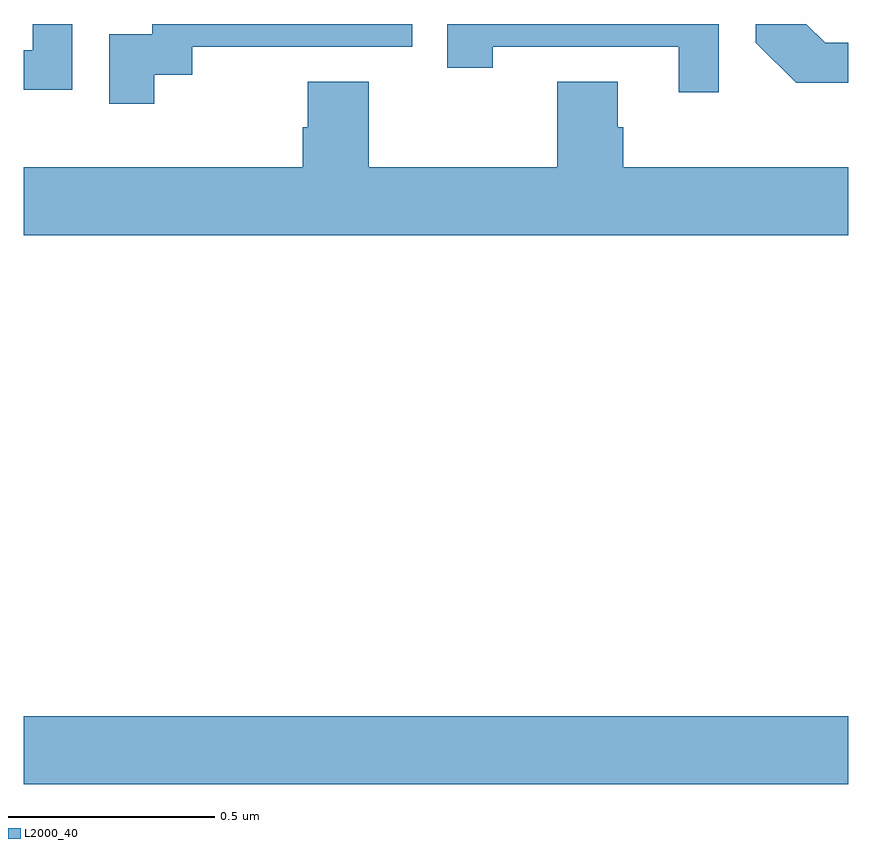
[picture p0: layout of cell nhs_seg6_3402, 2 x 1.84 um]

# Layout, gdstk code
import gdstk
lib = gdstk.Library(unit=1e-6, precision=1e-09)
def R(c, l, rs):  # rectangles x0, y0, x1, y1
    for r in rs: c.add(gdstk.rectangle(r[:2], r[2:], *l))
def P(c, l, *ps):  # polygons
    for p in ps: c.add(gdstk.Polygon(p, *l))
L2000_40 = (2000, 40)

nhs_seg6_3402 = lib.new_cell('nhs_seg6_3402')
R(nhs_seg6_3402, L2000_40, [(156,960.656,158,960.82)])
P(nhs_seg6_3402, L2000_40, [(156.316,962.377),(156.408,962.377),(156.408,962.445),(156.942,962.445),(156.942,962.5),(156.312,962.5),(156.312,962.475),(156.207,962.475),(156.207,962.307),(156.316,962.307)],
  [(156.117,962.5),(156.021,962.5),(156.021,962.436),(156,962.436),(156,962.34),(156.117,962.34)],
  [(158,962.454),(157.944,962.454),(157.898,962.5),(157.776,962.5),(157.776,962.454),(157.874,962.357),(158,962.357)],
  [(157.686,962.5),(157.027,962.5),(157.027,962.394),(157.138,962.394),(157.138,962.445),(157.589,962.445),(157.589,962.334),(157.686,962.334)],
  [(158,962.152),(157.454,962.152),(157.454,962.25),(157.441,962.25),(157.441,962.36),(157.294,962.36),(157.294,962.152),(156.837,962.152),(156.837,962.36),(156.689,962.36),(156.689,962.25),(156.677,962.25),(156.677,962.152),(156,962.152),(156,961.988),(158,961.988)])

lib.write_gds('nhs_seg6_3402.gds')
